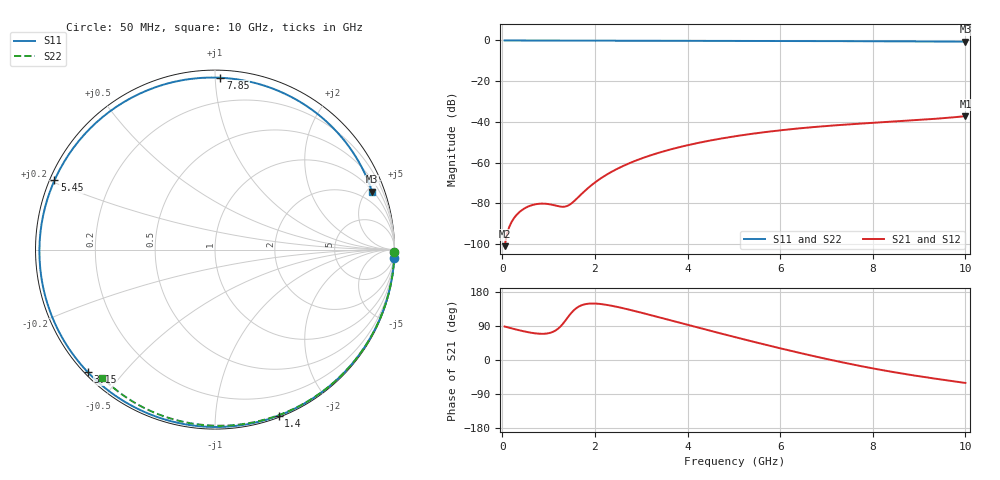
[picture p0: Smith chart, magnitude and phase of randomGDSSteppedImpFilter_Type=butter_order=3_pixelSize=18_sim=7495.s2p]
! freq	dB(S11)	phase(S11)	dB(S12)	phase(S12)
!  dB(S21)	phase(S21)	dB(S22)	phase(S22)
!S-par simulation data
#  GHz  S  DB  R 50
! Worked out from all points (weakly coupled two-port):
!   200 points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, 50 MHz to 10 GHz, reference 50 ohm
!   highest |S21| = -37.22 dB at 10 GHz (marker M1); lowest = -101.1 dB at 50 MHz (marker M2)
!   lowest |S11| = -0.6 dB at 10 GHz (marker M3), VSWR 28.78, Z = 54.3 + j270 ohm
!   |S11| at or under -10 dB: nowhere
!   |S22| runs from -0.4 to 0.0 dB; largest |S21 - S12| = 0
!   S11 on the Smith chart (normalised r, x): 50 MHz: 0, -44; 1.4 GHz: 0.01, -1.45; 3.15 GHz: 0.01, -0.40; 5.45 GHz: 0.01, +0.21; 7.85 GHz: 0.04, +1.03; 10 GHz: 1.09, +5.39
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0.05  -0.00 -2.6  -101.08 88.4  -101.08 88.4  -0.00 -0.8
0.35  -0.03 -18.2  -84.74 78.9  -84.74 78.9  -0.01 -5.3
0.65  -0.04 -33.4  -80.86 71.4  -80.86 71.4  -0.01 -9.8
1.05  -0.07 -52.9  -80.61 72.3  -80.61 72.3  -0.02 -15.8
1.4  -0.08 -69.1  -81.35 110.2  -81.35 110.2  -0.03 -21.0
1.5  -0.09 -73.5  -79.95 125.6  -79.95 125.6  -0.03 -22.5
1.75  -0.10 -84.3  -74.61 146.0  -74.61 146.0  -0.03 -26.2
2.05  -0.11 -96.5  -68.97 148.6  -68.97 148.6  -0.04 -30.6
2.35  -0.12 -108.1  -64.66 143.4  -64.66 143.4  -0.04 -34.9
3.15  -0.14 -136.0  -56.83 120.2  -56.83 120.2  -0.06 -46.4
3.4  -0.15 -144.0  -55.04 112.2  -55.04 112.2  -0.07 -49.9
4.2  -0.17 -168.2  -50.48 86.5  -50.48 86.5  -0.09 -60.9
5.05  -0.21 167.7  -47.00 59.6  -47.00 59.6  -0.11 -72.2
5.45  -0.23 156.7  -45.69 47.3  -45.69 47.3  -0.12 -77.4
6.05  -0.26 140.1  -44.04 29.4  -44.04 29.4  -0.15 -85.0
6.7  -0.30 121.8  -42.60 10.9  -42.60 10.9  -0.18 -93.0
7.3  -0.34 104.5  -41.53 -5.1  -41.53 -5.1  -0.21 -100.3
7.85  -0.37 88.2  -40.70 -18.6  -40.70 -18.6  -0.25 -106.8
8.35  -0.41 72.9  -40.00 -29.8  -40.00 -29.8  -0.29 -112.6
9.1  -0.48 49.2  -38.91 -44.7  -38.91 -44.7  -0.35 -121.2
9.55  -0.54 34.8  -38.13 -52.8  -38.13 -52.8  -0.40 -126.3
10  -0.60 20.2  -37.22 -60.5  -37.22 -60.5  -0.45 -131.4
